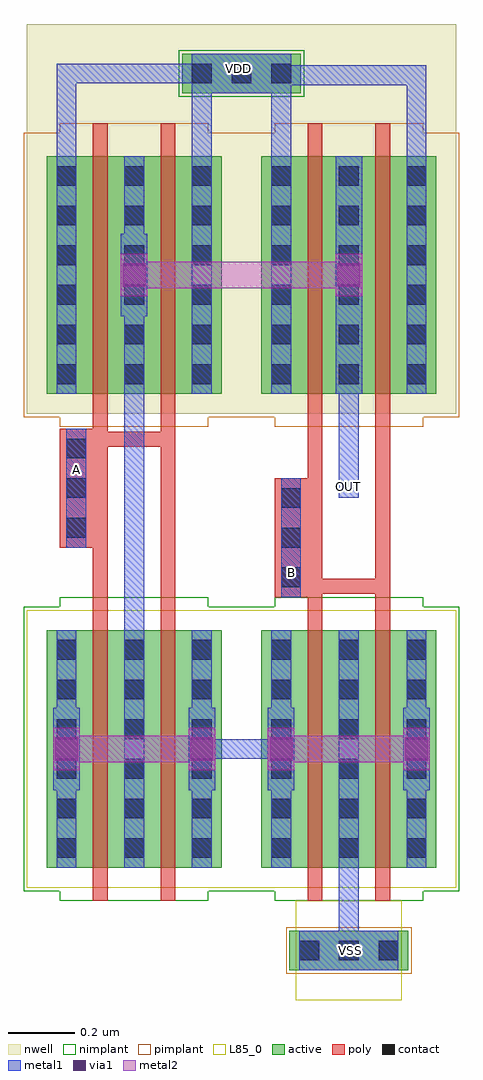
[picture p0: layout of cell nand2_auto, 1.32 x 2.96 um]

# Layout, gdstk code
import gdstk
lib = gdstk.Library(unit=1e-6, precision=5e-10)
def R(c, l, rs):  # rectangles x0, y0, x1, y1
    for r in rs: c.add(gdstk.rectangle(r[:2], r[2:], *l))
def A(c, l, x, y, w, h, nx, ny, dx, dy):  # array of equal rectangles
    R(c, l, [(x+i*dx, y+j*dy, x+i*dx+w, y+j*dy+h) for i in range(nx) for j in range(ny)])
active = (1, 0)
nwell = (2, 0)
poly = (3, 0)
nimplant = (4, 0)
pimplant = (5, 0)
contact = (6, 0)
metal1 = (7, 0)
via1 = (8, 0)
metal2 = (9, 0)
L85_0 = (85, 0)

pmos1v_cdns_764812396650 = lib.new_cell('pmos1v_CDNS_764812396650')
R(pmos1v_cdns_764812396650, active, [(-0.14,0,0,0.72), (0,0,0.045,0.72), (0.045,0,0.205,0.72), (0.205,0,0.25,0.72), (0.25,0,0.39,0.72)])
R(pmos1v_cdns_764812396650, nwell, [(-0.2,-0.06,0.45,0.78)])
R(pmos1v_cdns_764812396650, poly, [(0,-0.1,0.045,-0.05), (0.205,-0.1,0.25,-0.05), (0,-0.05,0.045,0), (0.205,-0.05,0.25,0), (0,0,0.045,0.72), (0.205,0,0.25,0.72), (0,0.72,0.045,0.77), (0.205,0.72,0.25,0.77), (0,0.77,0.045,0.82), (0.205,0.77,0.25,0.82)])
R(pmos1v_cdns_764812396650, pimplant, [(-0.1,-0.1,0.35,0.82), (-0.21,-0.07,0.46,0.79)])
A(pmos1v_cdns_764812396650, contact, -0.11, 0.03, 0.06, 0.06, 3, 6, 0.205, 0.12)
A(pmos1v_cdns_764812396650, metal1, -0.11, 0, 0.06, 0.72, 3, 1, 0.205, 0)
pmos1v_cdns_764812396650.add(gdstk.Label('S_source_2', (0.32,0.36), layer=1, texttype=0))
pmos1v_cdns_764812396650.add(gdstk.Label('S_source_0', (-0.07,0.36), layer=1, texttype=0))
pmos1v_cdns_764812396650.add(gdstk.Label('G_gate_2', (0.2275,-0.075), layer=3, texttype=0))
pmos1v_cdns_764812396650.add(gdstk.Label('G_gate_2', (0.2275,0.795), layer=3, texttype=0))
pmos1v_cdns_764812396650.add(gdstk.Label('G_gate_1', (0.0225,-0.075), layer=3, texttype=0))
pmos1v_cdns_764812396650.add(gdstk.Label('G_gate_1', (0.0225,0.795), layer=3, texttype=0))
pmos1v_cdns_764812396650.add(gdstk.Label('S_source_2', (0.33,0.36), layer=7, texttype=0))
pmos1v_cdns_764812396650.add(gdstk.Label('D_drain_1', (0.125,0.36), layer=7, texttype=0))
pmos1v_cdns_764812396650.add(gdstk.Label('S_source_0', (-0.08,0.36), layer=7, texttype=0))
pmos1v_cdns_764812396650.add(gdstk.Label('B', (0.125,0.36), layer=2, texttype=0))

nmos1v_cdns_764812396651 = lib.new_cell('nmos1v_CDNS_764812396651')
R(nmos1v_cdns_764812396651, active, [(-0.14,0,0,0.72), (0,0,0.045,0.72), (0.045,0,0.205,0.72), (0.205,0,0.25,0.72), (0.25,0,0.39,0.72)])
R(nmos1v_cdns_764812396651, poly, [(0,-0.1,0.045,-0.05), (0.205,-0.1,0.25,-0.05), (0,-0.05,0.045,0), (0.205,-0.05,0.25,0), (0,0,0.045,0.72), (0.205,0,0.25,0.72), (0,0.72,0.045,0.77), (0.205,0.72,0.25,0.77), (0,0.77,0.045,0.82), (0.205,0.77,0.25,0.82)])
R(nmos1v_cdns_764812396651, nimplant, [(-0.1,-0.1,0.35,0.82), (-0.21,-0.07,0.46,0.79)])
A(nmos1v_cdns_764812396651, contact, -0.11, 0.03, 0.06, 0.06, 3, 6, 0.205, 0.12)
A(nmos1v_cdns_764812396651, metal1, -0.11, 0, 0.06, 0.72, 3, 1, 0.205, 0)
R(nmos1v_cdns_764812396651, L85_0, [(-0.2,-0.06,0.45,0.78)])
nmos1v_cdns_764812396651.add(gdstk.Label('S_source_2', (0.32,0.36), layer=1, texttype=0))
nmos1v_cdns_764812396651.add(gdstk.Label('S_source_0', (-0.07,0.36), layer=1, texttype=0))
nmos1v_cdns_764812396651.add(gdstk.Label('G_gate_2', (0.2275,-0.075), layer=3, texttype=0))
nmos1v_cdns_764812396651.add(gdstk.Label('G_gate_2', (0.2275,0.795), layer=3, texttype=0))
nmos1v_cdns_764812396651.add(gdstk.Label('G_gate_1', (0.0225,-0.075), layer=3, texttype=0))
nmos1v_cdns_764812396651.add(gdstk.Label('G_gate_1', (0.0225,0.795), layer=3, texttype=0))
nmos1v_cdns_764812396651.add(gdstk.Label('S_source_2', (0.33,0.36), layer=7, texttype=0))
nmos1v_cdns_764812396651.add(gdstk.Label('D_drain_1', (0.125,0.36), layer=7, texttype=0))
nmos1v_cdns_764812396651.add(gdstk.Label('S_source_0', (-0.08,0.36), layer=7, texttype=0))
nmos1v_cdns_764812396651.add(gdstk.Label('B', (0.125,0.36), layer=85, texttype=0))

m1_po_cdns_764812396650 = lib.new_cell('M1_PO_CDNS_764812396650')
R(m1_po_cdns_764812396650, poly, [(-0.05,-0.18,0.05,0.18)])
A(m1_po_cdns_764812396650, contact, -0.03, -0.15, 0.06, 0.06, 1, 3, 0, 0.12)
R(m1_po_cdns_764812396650, metal1, [(-0.03,-0.18,0.03,0.18)])

m2_m1_cdns_764812396651 = lib.new_cell('M2_M1_CDNS_764812396651')
R(m2_m1_cdns_764812396651, metal1, [(-0.04,-0.125,0.04,0.125)])
R(m2_m1_cdns_764812396651, via1, [(-0.035,-0.035,0.035,0.035)])
R(m2_m1_cdns_764812396651, metal2, [(-0.04,-0.065,0.04,0.065)])

m1_psub_cdns_76481239665 = lib.new_cell('M1_PSUB_CDNS_764812396652')
R(m1_psub_cdns_76481239665, active, [(-0.18,-0.06,0.18,0.06)])
R(m1_psub_cdns_76481239665, pimplant, [(-0.19,-0.07,0.19,0.07)])
A(m1_psub_cdns_76481239665, contact, -0.15, -0.03, 0.06, 0.06, 3, 1, 0.12, 0)
R(m1_psub_cdns_76481239665, metal1, [(-0.15,-0.06,0.15,0.06)])
R(m1_psub_cdns_76481239665, L85_0, [(-0.16,-0.15,0.16,0.15)])

m1_nwell_cdns_7648123966 = lib.new_cell('M1_NWELL_CDNS_764812396653')
R(m1_nwell_cdns_7648123966, active, [(-0.18,-0.06,0.18,0.06)])
R(m1_nwell_cdns_7648123966, nwell, [(-0.21,-0.15,0.21,0.15)])
R(m1_nwell_cdns_7648123966, nimplant, [(-0.19,-0.07,0.19,0.07)])
A(m1_nwell_cdns_7648123966, contact, -0.15, -0.03, 0.06, 0.06, 3, 1, 0.12, 0)
R(m1_nwell_cdns_7648123966, metal1, [(-0.15,-0.06,0.15,0.06)])

nand2_auto = lib.new_cell('nand2_auto')
R(nand2_auto, nwell, [(0.97,2.915,2.27,3.255)])
R(nand2_auto, metal1, [(1.92,0.42,1.98,0.48), (1.74,1.565,1.8,1.625), (1.915,1.825,1.975,1.885), (1.09,1.875,1.15,1.935), (1.58,3.09,1.64,3.15)])
nand2_auto.add(gdstk.FlexPath([(1.3975,2.035),(1.3975,1.9975)], 0.045, ends=(0, 0.0225), simple_path=True, layer=3, datatype=0))  # poly
nand2_auto.add(gdstk.FlexPath([(1.1925,1.9975),(1.3975,1.9975)], 0.045, ends="extended", simple_path=True, layer=3, datatype=0))  # poly
nand2_auto.add(gdstk.FlexPath([(1.1925,1.9975),(1.1925,1.52)], 0.045, ends=(0.0225, 0), simple_path=True, layer=3, datatype=0))  # poly
nand2_auto.add(gdstk.FlexPath([(2.0475,2.035),(2.0475,1.5525)], 0.045, ends=(0, 0.0225), simple_path=True, layer=3, datatype=0))  # poly
nand2_auto.add(gdstk.FlexPath([(1.8425,1.5525),(2.0475,1.5525)], 0.045, ends="extended", simple_path=True, layer=3, datatype=0))  # poly
nand2_auto.add(gdstk.FlexPath([(1.8425,1.5525),(1.8425,1.52)], 0.045, ends=(0.0225, 0), simple_path=True, layer=3, datatype=0))  # poly
nand2_auto.add(gdstk.FlexPath([(2.0475,1.5525),(2.0475,1.52)], 0.045, ends=(0.0225, 0), simple_path=True, layer=3, datatype=0))  # poly
nand2_auto.add(gdstk.FlexPath([(1.8425,2.035),(1.8425,1.5525)], 0.045, ends=(0, 0.0225), simple_path=True, layer=3, datatype=0))  # poly
nand2_auto.add(gdstk.FlexPath([(1.3975,1.9975),(1.3975,1.52)], 0.045, ends=(0.0225, 0), simple_path=True, layer=3, datatype=0))  # poly
nand2_auto.add(gdstk.FlexPath([(1.1925,2.035),(1.1925,1.9975)], 0.045, ends=(0, 0.0225), simple_path=True, layer=3, datatype=0))  # poly
nand2_auto.add(gdstk.FlexPath([(1.62,3.1),(1.62,3.105)], 0.06, ends=(0.03, 0), simple_path=True, layer=7, datatype=0))  # metal1
nand2_auto.add(gdstk.FlexPath([(1.74,3.1),(1.62,3.1)], 0.06, ends="extended", simple_path=True, layer=7, datatype=0))  # metal1
nand2_auto.add(gdstk.FlexPath([(2.15,3.1),(1.74,3.1)], 0.06, ends="extended", simple_path=True, layer=7, datatype=0))  # metal1
nand2_auto.add(gdstk.FlexPath([(2.15,2.855),(2.15,3.1)], 0.06, ends=(0, 0.03), simple_path=True, layer=7, datatype=0))  # metal1
nand2_auto.add(gdstk.FlexPath([(1.74,2.855),(1.74,3.1)], 0.06, ends=(0, 0.03), simple_path=True, layer=7, datatype=0))  # metal1
nand2_auto.add(gdstk.FlexPath([(1.09,3.105),(1.5,3.105)], 0.06, ends="extended", simple_path=True, layer=7, datatype=0))  # metal1
nand2_auto.add(gdstk.FlexPath([(1.945,0.7),(1.945,0.48)], 0.06, ends="flush", simple_path=True, layer=7, datatype=0))  # metal1
nand2_auto.add(gdstk.FlexPath([(1.5,2.855),(1.5,3.105)], 0.06, ends=(0, 0.03), simple_path=True, layer=7, datatype=0))  # metal1
nand2_auto.add(gdstk.FlexPath([(1.62,3.105),(1.5,3.105)], 0.06, ends="extended", simple_path=True, layer=7, datatype=0))  # metal1
nand2_auto.add(gdstk.FlexPath([(1.09,2.855),(1.09,3.105)], 0.06, ends=(0, 0.03), simple_path=True, layer=7, datatype=0))  # metal1
nand2_auto.add(gdstk.FlexPath([(1.295,2.825),(1.295,0.73)], 0.06, ends="extended", simple_path=True, layer=7, datatype=0))  # metal1
nand2_auto.add(gdstk.FlexPath([(1.945,2.165),(1.945,2.855)], 0.08, ends=(0.03, 0), simple_path=True, layer=7, datatype=0))  # metal1
nand2_auto.add(gdstk.FlexPath([(1.945,2.135),(1.945,1.82)], 0.06, ends="flush", simple_path=True, layer=7, datatype=0))  # metal1
nand2_auto.add(gdstk.FlexPath([(1.74,1.06),(1.5,1.06)], 0.06, ends="extended", simple_path=True, layer=7, datatype=0))  # metal1
nand2_auto.add(gdstk.FlexPath([(1.77,1.7),(1.77,1.595)], 0.06, ends="extended", simple_path=True, layer=7, datatype=0))  # metal1
nand2_auto.add(gdstk.FlexPath([(1.12,1.905),(1.12,1.85)], 0.06, ends="extended", simple_path=True, layer=7, datatype=0))  # metal1
nand2_auto.add(gdstk.FlexPath([(1.945,2.495),(1.295,2.495)], 0.08, ends="extended", simple_path=True, layer=9, datatype=0))  # metal2
nand2_auto.add(gdstk.FlexPath([(1.09,1.06),(1.5,1.06)], 0.08, ends="extended", simple_path=True, layer=9, datatype=0))  # metal2
nand2_auto.add(gdstk.FlexPath([(2.15,1.06),(1.74,1.06)], 0.08, ends="extended", simple_path=True, layer=9, datatype=0))  # metal2
nand2_auto.add(gdstk.Reference(pmos1v_cdns_764812396650, (1.17,2.135)))
nand2_auto.add(gdstk.Reference(pmos1v_cdns_764812396650, (1.82,2.135)))
nand2_auto.add(gdstk.Reference(nmos1v_cdns_764812396651, (1.82,0.7)))
nand2_auto.add(gdstk.Reference(nmos1v_cdns_764812396651, (1.17,0.7)))
nand2_auto.add(gdstk.Reference(m1_po_cdns_764812396650, (1.77,1.7)))
nand2_auto.add(gdstk.Reference(m1_po_cdns_764812396650, (1.12,1.85)))
nand2_auto.add(gdstk.Reference(m2_m1_cdns_764812396651, (1.295,2.495)))
nand2_auto.add(gdstk.Reference(m2_m1_cdns_764812396651, (1.945,2.495)))
nand2_auto.add(gdstk.Reference(m2_m1_cdns_764812396651, (1.5,1.06)))
nand2_auto.add(gdstk.Reference(m2_m1_cdns_764812396651, (1.09,1.06)))
nand2_auto.add(gdstk.Reference(m2_m1_cdns_764812396651, (1.74,1.06)))
nand2_auto.add(gdstk.Reference(m2_m1_cdns_764812396651, (2.15,1.06)))
nand2_auto.add(gdstk.Reference(m1_psub_cdns_76481239665, (1.945,0.45)))
nand2_auto.add(gdstk.Reference(m1_nwell_cdns_7648123966, (1.62,3.105)))
nand2_auto.add(gdstk.Label('VDD', (1.61,3.12), layer=7, texttype=0))
nand2_auto.add(gdstk.Label('VSS', (1.95,0.45), layer=7, texttype=0))
nand2_auto.add(gdstk.Label('OUT', (1.945,1.855), layer=7, texttype=0))
nand2_auto.add(gdstk.Label('B', (1.77,1.595), layer=7, texttype=0))
nand2_auto.add(gdstk.Label('A', (1.12,1.905), layer=7, texttype=0))
nand2_auto.add(gdstk.Label('VDD', (1.61,3.12), layer=63, texttype=0))
nand2_auto.add(gdstk.Label('VSS', (1.95,0.45), layer=63, texttype=0))
nand2_auto.add(gdstk.Label('OUT', (1.945,1.855), layer=63, texttype=0))
nand2_auto.add(gdstk.Label('B', (1.77,1.595), layer=63, texttype=0))
nand2_auto.add(gdstk.Label('A', (1.12,1.905), layer=63, texttype=0))

lib.write_gds('nand2_auto.gds')
